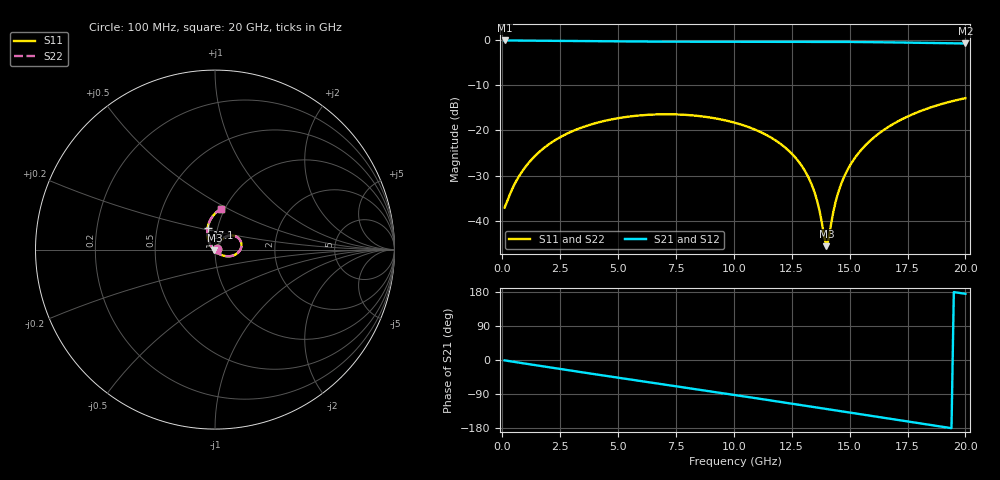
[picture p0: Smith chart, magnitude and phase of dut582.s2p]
! Touchstone file exported from HFSS 2026.1.0
!  File:  C:/ffzhzh/LocalFiles/Ansys_Project_Files/temp_train_TSV_RDL_582_1783119004_50312.aedt
!  Generated:  06:57:33 AM Jul  4, 2026
!  Design:  TSV_RDL
!  Project:  temp_train_TSV_RDL_582_1783119004_50312
! Variables:
!  h_bsmrdl = 3.19um
!  h_ox = 20um
!  h_rdl = 5um
!  h_sub = 61.65um
!  h_tmrdl = 5.67um
!  h_tsv = 61.65um
!  h_via = 3um
!  l_bsmrdl = 125.43um
!  l_sub = 2623.64um
!  l_tmrdl = 439.18um
!  m_sub = 200um
!  pitch = 28.02um
!  r_tsv = 12.45um
!  s_tmrdl = 10um
!  w_bsmrdl = 19.32um
!  w_sub = 500um
!  w_tmrdl = 10.89um
!  x_tsv_center1 = 444.625um
!  x_tsv_center2 = 589.375um
!  x_tsv_center3 = 1039.445um
!  x_tsv_center4 = 1184.195um
!  x_tsv_center5 = 1634.265um
!  x_tsv_center6 = 1779.015um
# GHz S MA R 50.000000
! Terminal data exported
! Port[1] = TM_RDL1_1_T1
! Port[2] = TM_RDL5_1_T1
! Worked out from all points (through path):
!   200 points, 100 MHz to 20 GHz, reference 50 ohm
!   highest |S21| = -0.12 dB at 100 MHz (marker M1); lowest = -0.8 dB at 20 GHz (marker M2)
!   group delay of S21, straight-line fit = 25.7 ps
!   lowest |S11| = -45.6 dB at 14 GHz (marker M3), VSWR 1.01, Z = 49.6 - j0.39 ohm
!   |S11| at or under -10 dB: start of sweep to end of sweep
!   |S22| runs from -45.6 to -12.9 dB; largest |S21 - S12| = 3.4e-14
!   S11 on the Smith chart (normalised r, x): 100 MHz: 1.03, +0.01; 17.1 GHz: 0.90, +0.22; 20 GHz: 0.96, +0.46
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0.1  0.01406 16.8  0.9866 -1.0  0.9866 -1.0  0.01406 16.8
! Gamma 0 0 0 0
! Port Impedance 50 0 50 0
0.7  0.03052 51.4  0.9835 -6.8  0.9835 -6.8  0.03052 51.4
1.4  0.05189 56.6  0.9809 -13.4  0.9809 -13.4  0.05189 56.6
2.3  0.07865 53.7  0.977 -21.8  0.977 -21.8  0.07865 53.7
3.5  0.1093 45.2  0.9708 -33.0  0.9708 -33.0  0.1093 45.2
5  0.1366 32.9  0.9634 -46.7  0.9634 -46.7  0.1366 32.9
6.8  0.1507 17.5  0.9574 -63.0  0.9574 -63.0  0.1507 17.5
8.5  0.1443 2.6  0.955 -78.3  0.955 -78.3  0.1443 2.6
10.1  0.1206 -12.0  0.955 -92.9  0.955 -92.9  0.1206 -12.0
11.3  0.09207 -23.5  0.9555 -104.0  0.9555 -104.0  0.0921 -23.5
12.2  0.0653 -32.9  0.9555 -112.4  0.9555 -112.4  0.06533 -32.9
12.9  0.04175 -41.9  0.9551 -118.9  0.9551 -118.9  0.04179 -41.9
13.4  0.02383 -52.0  0.9544 -123.6  0.9544 -123.6  0.02387 -51.9
13.7  0.01301 -65.9  0.9539 -126.5  0.9539 -126.5  0.01304 -65.7
14  0.005268 -131.8  0.9532 -129.3  0.9532 -129.3  0.005246 -131.3
14.1  0.006411 -170.5  0.9529 -130.2  0.9529 -130.2  0.006365 -170.3
14.4  0.01647 150.2  0.952 -133.1  0.952 -133.1  0.01642 150.1
14.9  0.0363 135.3  0.9502 -137.8  0.9502 -137.8  0.03625 135.2
15.6  0.06508 125.1  0.9469 -144.4  0.9469 -144.4  0.06503 125.1
16.7  0.1105 113.1  0.9402 -154.8  0.9402 -154.8  0.1104 113.1
17.1  0.1266 109.1  0.9373 -158.6  0.9373 -158.6  0.1266 109.1
20  0.2272 82.1  0.9134 174.7  0.9134 174.7  0.2272 82.0
